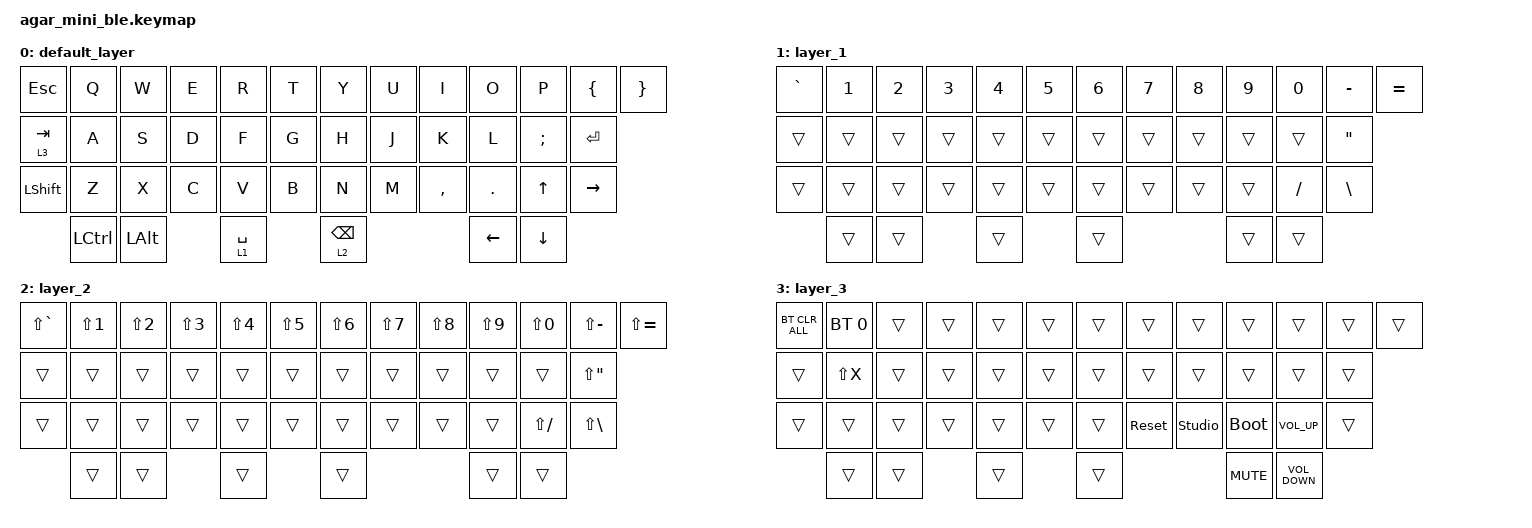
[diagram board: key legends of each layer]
/*
 * Copyright (c) 2021 The ZMK Contributors
 *
 * SPDX-License-Identifier: MIT
 */

#include "./boards/shields/klink_kbd/common.keymap"
#include <behaviors.dtsi>
#include <dt-bindings/zmk/bt.h>
#include <dt-bindings/zmk/keys.h>

&lt {
    flavor = "tap-preferred";
    quick-tap-ms = <150>;
};

/ {
    keymap {
        compatible = "zmk,keymap";

        default_layer {
            bindings = <
&kp ESCAPE  &kp Q      &kp W     &kp E  &kp R        &kp T  &kp Y            &kp U  &kp I      &kp O           &kp P           &kp LEFT_BRACE   &kp RIGHT_BRACE
&lt 3 TAB   &kp A      &kp S     &kp D  &kp F        &kp G  &kp H            &kp J  &kp K      &kp L           &kp SEMI        &kp ENTER
&kp LSHFT   &kp Z      &kp X     &kp C  &kp V        &kp B  &kp N            &kp M  &kp COMMA  &kp DOT         &kp UP_ARROW    &kp RIGHT_ARROW
            &kp LCTRL  &kp LALT         &lt 1 SPACE         &lt 2 BACKSPACE                    &kp LEFT_ARROW  &kp DOWN_ARROW
            >;
        };

        layer_1 {
            bindings = <
&kp GRAVE  &kp NUMBER_1  &kp NUMBER_2  &kp NUMBER_3  &kp NUMBER_4  &kp NUMBER_5  &kp NUMBER_6  &kp NUMBER_7  &kp NUMBER_8  &kp NUMBER_9  &kp NUMBER_0  &kp MINUS          &kp EQUAL
&trans     &trans        &trans        &trans        &trans        &trans        &trans        &trans        &trans        &trans        &trans        &kp DOUBLE_QUOTES
&trans     &trans        &trans        &trans        &trans        &trans        &trans        &trans        &trans        &trans        &kp SLASH     &kp BACKSLASH
           &trans        &trans                      &trans                      &trans                                    &trans        &trans
            >;
        };

        layer_2 {
            bindings = <
&kp LS(GRAVE)  &kp LS(NUMBER_1)  &kp LS(NUMBER_2)  &kp LS(NUMBER_3)  &kp LS(NUMBER_4)  &kp LS(NUMBER_5)  &kp LS(NUMBER_6)  &kp LS(NUMBER_7)  &kp LS(NUMBER_8)  &kp LS(NUMBER_9)  &kp LS(NUMBER_0)  &kp LS(MINUS)          &kp LS(EQUAL)
&trans         &trans            &trans            &trans            &trans            &trans            &trans            &trans            &trans            &trans            &trans            &kp LS(DOUBLE_QUOTES)
&trans         &trans            &trans            &trans            &trans            &trans            &trans            &trans            &trans            &trans            &kp LS(SLASH)     &kp LS(BACKSLASH)
               &trans            &trans                              &trans                              &trans                                                &trans            &trans
            >;
        };

        layer_3 {
            bindings = <
&bt BT_CLR_ALL  &bt BT_SEL 0  &trans  &trans  &trans  &trans  &trans  &trans      &trans          &trans       &trans             &trans  &trans
&trans          &kp LS(X)     &trans  &trans  &trans  &trans  &trans  &trans      &trans          &trans       &trans             &trans
&trans          &trans        &trans  &trans  &trans  &trans  &trans  &sys_reset  &studio_unlock  &bootloader  &kp C_VOLUME_UP    &trans
                &trans        &trans          &trans          &trans                              &kp K_MUTE   &kp C_VOLUME_DOWN
            >;
        };
    };
};
